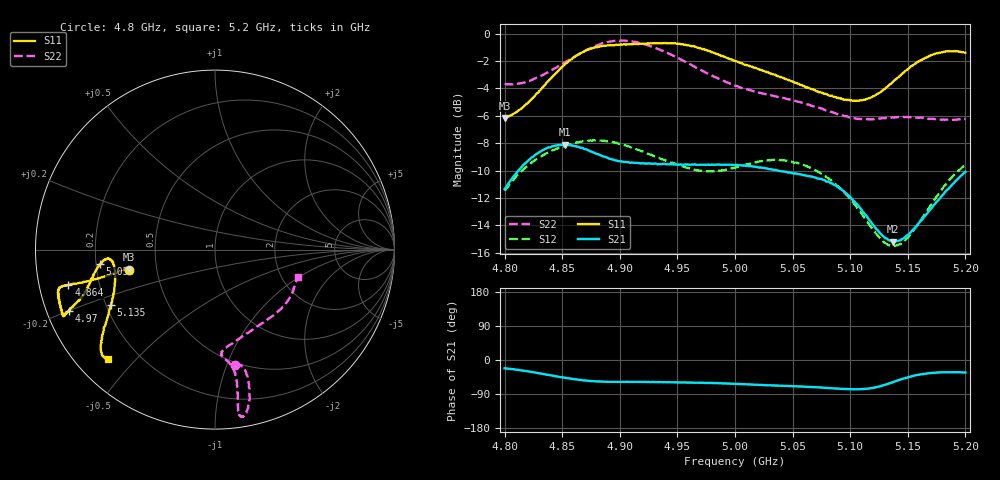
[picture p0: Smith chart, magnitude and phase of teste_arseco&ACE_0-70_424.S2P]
! Network Analyzer HP8722D
! Hewlett-Packard
! Data name: Linha & Wilkinson
! Saver's name: Rodrigo Anjos
! Comments: Teste da utilização de aquisição
! continua pelo VNA HP8722D
! Time and date: 8/5/2025 16:17
!  Frequency  S11  S21  S12  S22
# HZ  S  MA R 50
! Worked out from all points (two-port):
!   401 points, 4.8 GHz to 5.2 GHz, reference 50 ohm
!   highest |S21| = -8.10 dB at 4.852 GHz (marker M1); lowest = -15.2 dB at 5.137 GHz (marker M2)
!   |S21| within 3 dB of the highest: 4.802 GHz to 5.088 GHz (285.5 MHz wide, 5.77 % of centre); 5.187808 GHz to end of sweep
!   lowest |S11| = -6.2 dB at 4.8 GHz (marker M3), VSWR 2.94, Z = 17.2 - j5.04 ohm
!   |S11| at or under -10 dB: nowhere
!   |S22| runs from -6.3 to -0.5 dB; largest |S21 - S12| = 0.62
!   S11 on the Smith chart (normalised r, x): 4.8 GHz: 0.34, -0.10; 4.864 GHz: 0.09, -0.12; 4.97 GHz: 0.06, -0.20; 5.059 GHz: 0.22, -0.06; 5.135 GHz: 0.22, -0.24; 5.2 GHz: 0.09, -0.42
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4.8e9  0.4921 -167.0  0.2708 -21.9  0.267 -143.1  0.6548 -80.1
4.826e9  0.5913 -166.6  0.3594 -33.0  0.344 -147.6  0.6846 -76.2
4.852e9  0.7701 -166.2  0.3936 -46.9  0.3896 -151.9  0.7833 -76.0
4.864e9  0.8398 -166.4  0.3868 -52.0  0.4012 -153.7  0.8376 -76.7
4.867e9  0.8517 -166.4  0.383 -53.3  0.4036 -154.1  0.8537 -76.9
4.879e9  0.8936 -166.3  0.3652 -56.3  0.4077 -155.9  0.901 -78.2
4.899e9  0.91 -163.6  0.3426 -57.9  0.3971 -158.0  0.9438 -80.6
4.934e9  0.9207 -157.2  0.3338 -58.5  0.3521 -156.6  0.8748 -81.7
4.97e9  0.8828 -157.2  0.3325 -60.1  0.3165 -147.8  0.7379 -80.8
5e9  0.7947 -160.2  0.3314 -63.0  0.3245 -138.4  0.6456 -82.2
5.035e9  0.7078 -166.8  0.3183 -67.6  0.3462 -136.1  0.5905 -86.4
5.059e9  0.645 -172.7  0.3049 -70.2  0.3318 -138.1  0.5579 -84.8
5.067e9  0.6266 -174.3  0.3007 -71.3  0.3217 -139.0  0.5447 -82.7
5.082e9  0.593 -175.0  0.2872 -74.1  0.2945 -140.3  0.5207 -76.7
5.099e9  0.5726 -172.1  0.2555 -77.0  0.2517 -140.3  0.4944 -66.7
5.116e9  0.5802 -163.6  0.2103 -75.5  0.2029 -134.8  0.4868 -54.4
5.134e9  0.6492 -152.8  0.176 -61.8  0.169 -117.4  0.4941 -42.6
5.135e9  0.6548 -152.1  0.1755 -60.9  0.1684 -115.9  0.4941 -42.0
5.137e9  0.6671 -151.1  0.1744 -58.6  0.1679 -113.3  0.4951 -41.0
5.15e9  0.7408 -145.5  0.1843 -45.7  0.1802 -97.1  0.4955 -33.9
5.172e9  0.8391 -139.4  0.2348 -33.8  0.2439 -81.5  0.488 -24.6
5.2e9  0.8513 -134.2  0.313 -33.0  0.3322 -78.6  0.4882 -18.1
